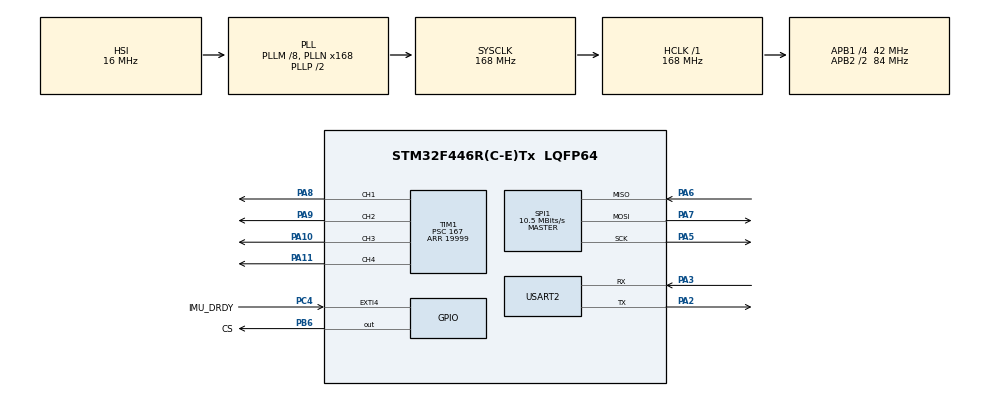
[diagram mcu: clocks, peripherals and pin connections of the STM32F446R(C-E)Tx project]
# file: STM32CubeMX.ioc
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Dma.Request0=USART2_TX
Dma.Request1=SPI1_TX
Dma.Request2=SPI1_RX
Dma.SPI1_RX.2.Direction=DMA_PERIPH_TO_MEMORY
Dma.SPI1_RX.2.FIFOMode=DMA_FIFOMODE_DISABLE
Dma.SPI1_RX.2.Instance=DMA2_Stream0
Dma.SPI1_RX.2.MemDataAlignment=DMA_MDATAALIGN_BYTE
Dma.SPI1_RX.2.MemInc=DMA_MINC_ENABLE
Dma.SPI1_RX.2.Mode=DMA_NORMAL
Dma.SPI1_RX.2.PeriphDataAlignment=DMA_PDATAALIGN_BYTE
Dma.SPI1_RX.2.PeriphInc=DMA_PINC_DISABLE
Dma.SPI1_RX.2.Priority=DMA_PRIORITY_HIGH
Dma.SPI1_TX.1.Direction=DMA_MEMORY_TO_PERIPH
Dma.SPI1_TX.1.FIFOMode=DMA_FIFOMODE_DISABLE
Dma.SPI1_TX.1.Instance=DMA2_Stream3
Dma.SPI1_TX.1.MemDataAlignment=DMA_MDATAALIGN_BYTE
Dma.SPI1_TX.1.MemInc=DMA_MINC_ENABLE
Dma.SPI1_TX.1.Mode=DMA_NORMAL
Dma.SPI1_TX.1.PeriphDataAlignment=DMA_PDATAALIGN_BYTE
Dma.SPI1_TX.1.PeriphInc=DMA_PINC_DISABLE
Dma.SPI1_TX.1.Priority=DMA_PRIORITY_HIGH
Dma.USART2_TX.0.Direction=DMA_MEMORY_TO_PERIPH
Dma.USART2_TX.0.FIFOMode=DMA_FIFOMODE_DISABLE
Dma.USART2_TX.0.Instance=DMA1_Stream6
Dma.USART2_TX.0.MemDataAlignment=DMA_MDATAALIGN_BYTE
Dma.USART2_TX.0.MemInc=DMA_MINC_ENABLE
Dma.USART2_TX.0.Mode=DMA_NORMAL
Dma.USART2_TX.0.PeriphDataAlignment=DMA_PDATAALIGN_BYTE
Dma.USART2_TX.0.PeriphInc=DMA_PINC_DISABLE
Dma.USART2_TX.0.Priority=DMA_PRIORITY_LOW
FREERTOS.Tasks01=defaultTask,24,128,StartDefaultTask,Default,NULL,Dynamic,NULL,NULL
FREERTOS.configTOTAL_HEAP_SIZE=24576
FREERTOS.configUSE_NEWLIB_REENTRANT=1
Mcu.Family=STM32F4
Mcu.Name=STM32F446R(C-E)Tx
Mcu.Package=LQFP64
NVIC.DMA1_Stream6_IRQn=true\:5\:0\:false\:false\:true\:true\:false\:true\:true
NVIC.DMA2_Stream0_IRQn=true\:7\:0\:true\:false\:true\:true\:false\:true\:true
NVIC.DMA2_Stream3_IRQn=true\:7\:0\:true\:false\:true\:true\:false\:true\:true
NVIC.PriorityGroup=NVIC_PRIORITYGROUP_4
NVIC.TIM2_IRQn=true\:5\:0\:true\:false\:true\:true\:true\:true\:true
NVIC.TIM6_DAC_IRQn=true\:15\:0\:false\:false\:true\:false\:false\:true\:true
NVIC.TimeBase=TIM6_DAC_IRQn
NVIC.TimeBaseIP=TIM6
NVIC.USART2_IRQn=true\:5\:0\:true\:false\:true\:true\:true\:true\:true
PA10.GPIO_Speed=GPIO_SPEED_FREQ_VERY_HIGH
PA10.Signal=S_TIM1_CH3
PA11.GPIO_Speed=GPIO_SPEED_FREQ_VERY_HIGH
PA11.Signal=S_TIM1_CH4
PA13.Mode=Serial_Wire
PA13.Signal=SYS_JTMS-SWDIO
PA14.Mode=Serial_Wire
PA14.Signal=SYS_JTCK-SWCLK
PA2.Mode=Asynchronous
PA2.Signal=USART2_TX
PA3.Mode=Asynchronous
PA3.Signal=USART2_RX
PA5.Mode=Full_Duplex_Master
PA5.Signal=SPI1_SCK
PA6.Mode=Full_Duplex_Master
PA6.Signal=SPI1_MISO
PA7.Mode=Full_Duplex_Master
PA7.Signal=SPI1_MOSI
PA8.GPIO_Speed=GPIO_SPEED_FREQ_VERY_HIGH
PA8.Signal=S_TIM1_CH1
PA9.GPIO_Speed=GPIO_SPEED_FREQ_VERY_HIGH
PA9.Signal=S_TIM1_CH2
PB3.Signal=SYS_JTDO-SWO
PB6.GPIO_Label=CS
PB6.GPIO_Speed=GPIO_SPEED_FREQ_VERY_HIGH
PB6.PinState=GPIO_PIN_SET
PB6.Signal=GPIO_Output
PC4.GPIO_Label=IMU_DRDY
PC4.Signal=GPXTI4
ProjectManager.HeapSize=0x200
ProjectManager.StackSize=0x400
ProjectManager.TargetToolchain=STM32CubeIDE
RCC.AHBFreq_Value=168000000
RCC.APB1CLKDivider=RCC_HCLK_DIV4
RCC.APB1Freq_Value=42000000
RCC.APB1TimFreq_Value=84000000
RCC.APB2CLKDivider=RCC_HCLK_DIV2
RCC.APB2Freq_Value=84000000
RCC.APB2TimFreq_Value=168000000
RCC.CortexFreq_Value=168000000
RCC.HCLKFreq_Value=168000000
RCC.PLLM=8
RCC.PLLN=168
RCC.SYSCLKFreq_VALUE=168000000
RCC.SYSCLKSource=RCC_SYSCLKSOURCE_PLLCLK
RCC.USBFreq_Value=168000000
RCC.VCOOutputFreq_Value=336000000
SH.S_TIM1_CH1.0=TIM1_CH1,PWM Generation1 CH1
SH.S_TIM1_CH2.0=TIM1_CH2,PWM Generation2 CH2
SH.S_TIM1_CH3.0=TIM1_CH3,PWM Generation3 CH3
SH.S_TIM1_CH4.0=TIM1_CH4,PWM Generation4 CH4
SPI1.BaudRatePrescaler=SPI_BAUDRATEPRESCALER_8
SPI1.CalculateBaudRate=10.5 MBits/s
SPI1.Direction=SPI_DIRECTION_2LINES
SPI1.Mode=SPI_MODE_MASTER
SPI1.VirtualType=VM_MASTER
TIM1.AutoReloadPreload=TIM_AUTORELOAD_PRELOAD_ENABLE
TIM1.Channel-PWM\ Generation1\ CH1=TIM_CHANNEL_1
TIM1.Channel-PWM\ Generation2\ CH2=TIM_CHANNEL_2
TIM1.Channel-PWM\ Generation3\ CH3=TIM_CHANNEL_3
TIM1.Channel-PWM\ Generation4\ CH4=TIM_CHANNEL_4
TIM1.Period=19999
TIM1.Prescaler=167
TIM1.Pulse-PWM\ Generation1\ CH1=1500
TIM1.Pulse-PWM\ Generation2\ CH2=1500
TIM1.Pulse-PWM\ Generation3\ CH3=1500
TIM1.Pulse-PWM\ Generation4\ CH4=1500
TIM2.Period=999
TIM2.Prescaler=83
USART2.VirtualMode=VM_ASYNC
VP_FREERTOS_VS_CMSIS_V2.Mode=CMSIS_V2
VP_SYS_VS_tim6.Mode=TIM6
VP_TIM1_VS_ClockSourceINT.Mode=Internal
VP_TIM2_VS_ClockSourceINT.Mode=Internal
board=custom

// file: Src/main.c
/* USER CODE BEGIN Header */
#include "imu.h"
#include "imu_task.h"
#include "log_task.h"
#include "est_task.h"
#include "ctrl_task.h"
#include "pwm_task.h"
#include <stdio.h>
#include "FreeRTOS.h"
#include "task.h"
#include <stdint.h>
#include <sys/unistd.h>  // for _write prototype
extern UART_HandleTypeDef huart2;
extern SPI_HandleTypeDef hspi1;
/**
  ******************************************************************************
  * @file           : main.c
  * @brief          : Main program body
  ******************************************************************************
  * @attention
  *
  * Copyright (c) 2025 STMicroelectronics.
  * All rights reserved.
  *
  * This software is licensed under terms that can be found in the LICENSE file
  * in the root directory of this software component.
  * If no LICENSE file comes with this software, it is provided AS-IS.
  *
  ******************************************************************************
  */
/* USER CODE END Header */
#include "main.h"
#include "cmsis_os2.h"
#include "dma.h"
#include "spi.h"
#include "tim.h"
#include "usart.h"
#include "gpio.h"

void SystemClock_Config(void);
/* USER CODE BEGIN PFP */
// Simple uart printf support
//int fputc(int ch, FILE *f)
//{
//    (void)f; // unused
//    uint8_t c = (uint8_t)ch;
//    HAL_UART_Transmit(&huart2, &c, 1, HAL_MAX_DELAY);
//    return ch;
//}

int _write(int file, char *ptr, int len)
{
    (void)file;
    HAL_UART_Transmit(&huart2, (uint8_t *)ptr, len, HAL_MAX_DELAY);
    return len;
}

/* USER CODE END PFP */

int main(void)
{

  /* MCU Configuration--------------------------------------------------------*/

  /* Reset of all peripherals, Initializes the Flash interface and the Systick. */
  HAL_Init();

  /* Configure the system clock */
  SystemClock_Config();

  /* Initialize all configured peripherals */
  MX_GPIO_Init();
  MX_DMA_Init();
  MX_SPI1_Init();
  MX_USART2_UART_Init();
  MX_TIM1_Init();
  MX_TIM2_Init();
  /* USER CODE BEGIN 2 */
  // chip select idle high
  HAL_GPIO_WritePin(IMU_CS_PORT, IMU_CS_PIN, GPIO_PIN_SET);
  HAL_Delay(2);
  printf("Starting IMU\r\n");

  if (IMU_Init() != HAL_OK) {printf("IMU Init failed\r\n");}
  else {printf("IMU Init OK! WAI: 0x%02X\r\n", IMU_WAI_VAL);}

  osKernelInitialize();  // RTOS Bring up
  IMU_Task_Init(); // start up imu queue + 1 khz sampler task
  Log_Task_Init(); // 100 hz telemetry
  EST_Task_Init();
  CTRL_Task_Init();
  PWM_Task_Init();
  osKernelStart(); // start scheduler
  /* USER CODE END 2 */

  /* We should never get here as control is now taken by the scheduler */

  /* Infinite loop */
  while (1)
  {

  }
}

void SystemClock_Config(void)
{
  RCC_OscInitTypeDef RCC_OscInitStruct = {0};
  RCC_ClkInitTypeDef RCC_ClkInitStruct = {0};

  /** Configure the main internal regulator output voltage
  */
  __HAL_RCC_PWR_CLK_ENABLE();
  __HAL_PWR_VOLTAGESCALING_CONFIG(PWR_REGULATOR_VOLTAGE_SCALE1);

  /** Initializes the RCC Oscillators according to the specified parameters
  * in the RCC_OscInitTypeDef structure.
  */
  RCC_OscInitStruct.OscillatorType = RCC_OSCILLATORTYPE_HSI;
  RCC_OscInitStruct.HSIState = RCC_HSI_ON;
  RCC_OscInitStruct.HSICalibrationValue = RCC_HSICALIBRATION_DEFAULT;
  RCC_OscInitStruct.PLL.PLLState = RCC_PLL_ON;
  RCC_OscInitStruct.PLL.PLLSource = RCC_PLLSOURCE_HSI;
  RCC_OscInitStruct.PLL.PLLM = 8;
  RCC_OscInitStruct.PLL.PLLN = 168;
  RCC_OscInitStruct.PLL.PLLP = RCC_PLLP_DIV2;
  RCC_OscInitStruct.PLL.PLLQ = 2;
  RCC_OscInitStruct.PLL.PLLR = 2;
  if (HAL_RCC_OscConfig(&RCC_OscInitStruct) != HAL_OK)
  {
    Error_Handler();
  }

  /** Initializes the CPU, AHB and APB buses clocks
  */
  RCC_ClkInitStruct.ClockType = RCC_CLOCKTYPE_HCLK|RCC_CLOCKTYPE_SYSCLK
                              |RCC_CLOCKTYPE_PCLK1|RCC_CLOCKTYPE_PCLK2;
  RCC_ClkInitStruct.SYSCLKSource = RCC_SYSCLKSOURCE_PLLCLK;
  RCC_ClkInitStruct.AHBCLKDivider = RCC_SYSCLK_DIV1;
  RCC_ClkInitStruct.APB1CLKDivider = RCC_HCLK_DIV4;
  RCC_ClkInitStruct.APB2CLKDivider = RCC_HCLK_DIV2;

  if (HAL_RCC_ClockConfig(&RCC_ClkInitStruct, FLASH_LATENCY_5) != HAL_OK)
  {
    Error_Handler();
  }
}

void HAL_TIM_PeriodElapsedCallback(TIM_HandleTypeDef *htim)
{
  /* USER CODE BEGIN Callback 0 */
  if (htim->Instance == TIM6)
  {
    HAL_IncTick();
  }
  /* USER CODE END Callback 0 */

}

void Error_Handler(void)
{
  __disable_irq();
  while (1)
  {
  }
}
